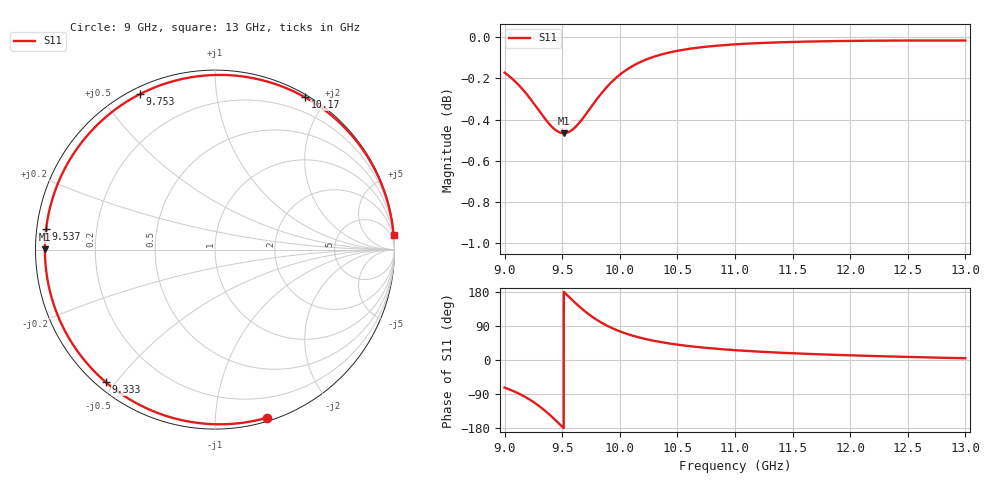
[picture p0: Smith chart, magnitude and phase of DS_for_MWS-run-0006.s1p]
! TOUCHSTONE file generated by CST DESIGN STUDIO
! Date and time: Wed Feb  5 13:18:17 2025
! Project name: C:\Work\MatlabApps\UnitCellOptimizationMatlab\CST\unitcell.cst
! Tree item: Tasks\Sweep1\SPara1\S-Parameters
! Header version: 2024
! Port assignment regex: !\s*Touchstone port\s*([0-9]+)\s*=\s*(CST MWS port|CST DES external port|CST DES block port)\s*(.+)\s* \(\"(.*)\"\)(\s*mode\s*([0-9]+))?.*
! Touchstone port assignment:
! Touchstone port 1 = CST DES external port 1 ("")
# GHz S MA R 50
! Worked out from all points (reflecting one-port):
!   4001 points, 9 GHz to 13 GHz, reference 50 ohm
!   lowest |S11| = -0.5 dB at 9.514 GHz (marker M1), VSWR 37.28, Z = 1.34 + j0.0647 ohm
!   phase of S11 starts at -73 deg and turns -283 deg over the sweep
!   S11 on the Smith chart (normalised r, x): 9 GHz: 0.03, -1.35; 9.333 GHz: 0.03, -0.47; 9.537 GHz: 0.03, +0.06; 9.753 GHz: 0.03, +0.63; 10.17 GHz: 0.03, +1.75; 13 GHz: 1, +25
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9  0.9804 -72.9
9.09  0.9757 -83.9
9.194  0.9685 -100.1
9.267  0.9625 -114.3
9.333  0.9569 -129.5
9.378  0.9533 -141.0
9.425  0.9503 -153.9
9.463  0.9486 -165.0
9.5  0.9478 -176.0
9.514  0.9478 179.9
9.537  0.9479 173.0
9.59  0.9497 157.4
9.65  0.9534 140.7
9.701  0.9575 127.6
9.753  0.9619 115.7
9.804  0.9662 105.3
9.86  0.9706 95.2
10  0.9793 75.6
10.081  0.9829 67.0
10.168  0.986 59.5
10.319  0.9897 49.3
10.5  0.9925 40.5
10.722  0.9946 32.8
11  0.9961 25.9
11.5  0.9974 17.8
12  0.998 12.3
12.5  0.9982 8.1
13  0.9982 4.5
